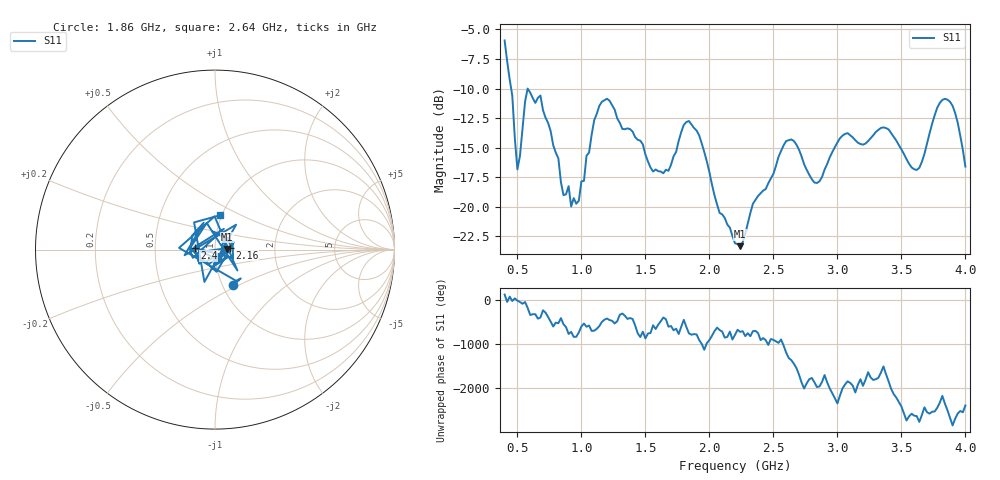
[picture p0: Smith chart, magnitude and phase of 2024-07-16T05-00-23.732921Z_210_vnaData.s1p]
!Created with skrf (http://scikit-rf.org).
# Hz S RI R 50.0
!freq ReS11 ImS11
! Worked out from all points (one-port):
!   181 points, 400 MHz to 4 GHz, reference 50 ohm
!   lowest |S11| = -23.3 dB at 2.24 GHz (marker M1), VSWR 1.15, Z = 57.3 + j0.422 ohm
!   |S11| at or under -10 dB: 451.1 MHz to end of sweep
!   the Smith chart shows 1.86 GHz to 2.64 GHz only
!   S11 on the Smith chart (normalised r, x): 1.86 GHz: 1.13, -0.47; 2.16 GHz: 1.18, +0.02; 2.4 GHz: 0.80, +0.01; 2.64 GHz: 0.98, +0.39
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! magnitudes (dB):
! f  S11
! 400 MHz  -5.9
! 460 MHz  -10.6
! 500 MHz  -16.8
! 580 MHz  -10.0
! 680 MHz  -10.6
! 820 MHz  -15.9
! 860 MHz  -19.0
! 980 MHz  -19.5
! 1.16 GHz  -11.1
! 1.3 GHz  -12.9
! 1.56 GHz  -17.0
! 1.68 GHz  -17.0
! 1.76 GHz  -14.4
! 1.86 GHz  -13.0
! 2.16 GHz  -21.8
! 2.2 GHz  -23.1
! 2.24 GHz  -23.3
! 2.4 GHz  -18.9
! 2.64 GHz  -14.3
! 2.66 GHz  -14.4
! 2.84 GHz  -18.0
! 3.1 GHz  -14.0
! 3.38 GHz  -13.3
! 3.56 GHz  -16.4
! 3.64 GHz  -16.7
! 3.84 GHz  -10.9
! 3.92 GHz  -12.1
! 4 GHz  -16.6
